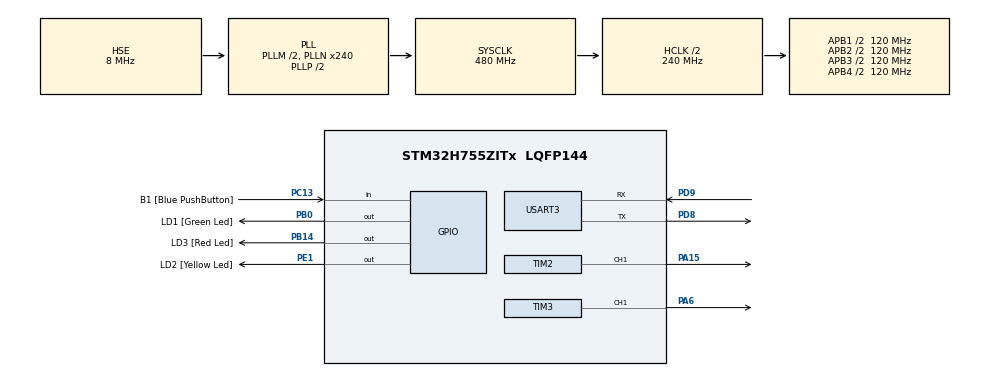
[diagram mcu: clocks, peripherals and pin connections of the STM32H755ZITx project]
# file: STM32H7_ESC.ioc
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CortexM4.IPs=BDMA,CORTEX_M4\:I,DEBUG,DMA,FATFS_M4\:I,FREERTOS_M4\:I,GPIO,IWDG2\:I,MDMA,NVIC2\:I,OPENAMP_M4\:I,PDM2PCM_M4\:I,PWR,RCC,RESMGR_UTILITY,SYS_M4\:I,USB_DEVICE_M4\:I,USB_HOST_M4\:I,VREFBUF,WWDG2\:I
CortexM4.Pins=PE1
CortexM7.IPs=BDMA\:I,CORTEX_M7\:I,DEBUG\:I,DMA\:I,FATFS_M7\:I,FREERTOS_M7\:I,GPIO\:I,IWDG1\:I,MDMA\:I,NVIC1\:I,OPENAMP_M7\:I,PDM2PCM_M7\:I,PWR\:I,RCC\:I,RESMGR_UTILITY\:I,SYS\:I,USB_DEVICE_M7\:I,USB_HOST_M7\:I,VREFBUF\:I,WWDG1\:I,I2C2\:I,USART3\:I,TIM2\:I,TIM3\:I
CortexM7.Pins=PC13,PB0,PB14
Mcu.Family=STM32H7
Mcu.Name=STM32H755ZITx
Mcu.Package=LQFP144
NVIC1.PriorityGroup=NVIC_PRIORITYGROUP_4
NVIC2.PriorityGroup=NVIC_PRIORITYGROUP_4
PA15\ (JTDI).PinAttribute=CortexM7
PA15\ (JTDI).Signal=S_TIM2_CH1_ETR
PA6.PinAttribute=CortexM7
PA6.Signal=S_TIM3_CH1
PB0.GPIO_Label=LD1 [Green Led]
PB0.PinAttribute=CortexM7
PB0.Signal=GPIO_Output
PB14.GPIO_Label=LD3 [Red Led]
PB14.PinAttribute=CortexM7
PB14.Signal=GPIO_Output
PC13.GPIO_Label=B1 [Blue PushButton]
PC13.PinAttribute=CortexM7
PC13.Signal=GPIO_Input
PC14-OSC32_IN\ (OSC32_IN).Mode=LSE-External-Oscillator
PC14-OSC32_IN\ (OSC32_IN).PinAttribute=CortexM7
PC14-OSC32_IN\ (OSC32_IN).Signal=RCC_OSC32_IN
PC15-OSC32_OUT\ (OSC32_OUT).Mode=LSE-External-Oscillator
PC15-OSC32_OUT\ (OSC32_OUT).PinAttribute=CortexM7
PC15-OSC32_OUT\ (OSC32_OUT).Signal=RCC_OSC32_OUT
PD8.Mode=Asynchronous
PD8.PinAttribute=CortexM7
PD8.Signal=USART3_TX
PD9.Mode=Asynchronous
PD9.PinAttribute=CortexM7
PD9.Signal=USART3_RX
PE1.GPIO_Label=LD2 [Yellow Led]
PE1.PinAttribute=CortexM4
PE1.Signal=GPIO_Output
PH0-OSC_IN\ (PH0).Mode=HSE-External-Clock-Source
PH0-OSC_IN\ (PH0).PinAttribute=CortexM7
PH0-OSC_IN\ (PH0).Signal=RCC_OSC_IN
ProjectManager.HeapSize=M4-0x200,M7-0x200
ProjectManager.StackSize=M4-0x400,M7-0x400
ProjectManager.TargetToolchain=STM32CubeIDE
RCC.ADCFreq_Value=16125000
RCC.APB1Freq_Value=120000000
RCC.APB2Freq_Value=120000000
RCC.APB3Freq_Value=120000000
RCC.APB4Freq_Value=120000000
RCC.CortexFreq_Value=480000000
RCC.D1PPRE=RCC_APB3_DIV2
RCC.D2PPRE1=RCC_APB1_DIV2
RCC.D2PPRE2=RCC_APB2_DIV2
RCC.D3PPRE=RCC_APB4_DIV2
RCC.DIVM1=2
RCC.DIVN1=240
RCC.HCLKFreq_Value=240000000
RCC.HPRE=RCC_HCLK_DIV2
RCC.HSE_VALUE=8000000
RCC.PLLSourceVirtual=RCC_PLLSOURCE_HSE
RCC.SYSCLKFreq_VALUE=480000000
RCC.SYSCLKSource=RCC_SYSCLKSOURCE_PLLCLK
RCC.USBFreq_Value=480000000
SH.S_TIM2_CH1_ETR.0=TIM2_CH1,PWM Generation1 CH1
SH.S_TIM3_CH1.0=TIM3_CH1,PWM Generation1 CH1
TIM2.AutoReloadPreload=TIM_AUTORELOAD_PRELOAD_ENABLE
TIM2.Channel-PWM\ Generation1\ CH1=TIM_CHANNEL_1
TIM2.Period=65535
TIM2.Prescaler=72
TIM3.AutoReloadPreload=TIM_AUTORELOAD_PRELOAD_ENABLE
TIM3.Channel-PWM\ Generation1\ CH1=TIM_CHANNEL_1
TIM3.Prescaler=72
USART3.VirtualMode-Asynchronous=VM_ASYNC
VP_TIM2_VS_ClockSourceINT.Mode=Internal
VP_TIM3_VS_ClockSourceINT.Mode=Internal
board=custom

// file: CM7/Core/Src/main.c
/* USER CODE BEGIN Header */
/**
  ******************************************************************************
  * @file           : main.c
  * @brief          : Main program body
  ******************************************************************************
  * @attention
  *
  * Copyright (c) 2023 STMicroelectronics.
  * All rights reserved.
  *
  * This software is licensed under terms that can be found in the LICENSE file
  * in the root directory of this software component.
  * If no LICENSE file comes with this software, it is provided AS-IS.
  *
  ******************************************************************************
  */
/* USER CODE END Header */
#include "main.h"
#include "tim.h"
#include "usart.h"
#include "gpio.h"

/* USER CODE BEGIN Includes */
#include "myprintf.h"
#include "esc.h"
/* USER CODE END Includes */

/* USER CODE BEGIN PD */

#ifndef HSEM_ID_0
#define HSEM_ID_0 (0U) /* HW semaphore 0*/
#endif
/* USER CODE END PD */

void SystemClock_Config(void);

int main(void)
{
/* USER CODE BEGIN Boot_Mode_Sequence_0 */
  int32_t timeout;
/* USER CODE END Boot_Mode_Sequence_0 */

/* USER CODE BEGIN Boot_Mode_Sequence_1 */
  /* Wait until CPU2 boots and enters in stop mode or timeout*/
  timeout = 0xFFFF;
  while((__HAL_RCC_GET_FLAG(RCC_FLAG_D2CKRDY) != RESET) && (timeout-- > 0));
  if ( timeout < 0 )
  {
  Error_Handler();
  }
/* USER CODE END Boot_Mode_Sequence_1 */
  /* MCU Configuration--------------------------------------------------------*/

  /* Reset of all peripherals, Initializes the Flash interface and the Systick. */
  HAL_Init();

  /* Configure the system clock */
  SystemClock_Config();
/* USER CODE BEGIN Boot_Mode_Sequence_2 */
/* When system initialization is finished, Cortex-M7 will release Cortex-M4 by means of
HSEM notification */
/*HW semaphore Clock enable*/
__HAL_RCC_HSEM_CLK_ENABLE();
/*Take HSEM */
HAL_HSEM_FastTake(HSEM_ID_0);
/*Release HSEM in order to notify the CPU2(CM4)*/
HAL_HSEM_Release(HSEM_ID_0,0);
/* wait until CPU2 wakes up from stop mode */
timeout = 0xFFFF;
while((__HAL_RCC_GET_FLAG(RCC_FLAG_D2CKRDY) == RESET) && (timeout-- > 0));
if ( timeout < 0 )
{
Error_Handler();
}
/* USER CODE END Boot_Mode_Sequence_2 */

  /* Initialize all configured peripherals */
  MX_GPIO_Init();
  MX_USART3_UART_Init();
  MX_TIM2_Init();
  MX_TIM3_Init();
  /* USER CODE BEGIN 2 */
  HAL_TIM_PWM_Start(&htim2, TIM_CHANNEL_1); //Starting Timer 2
  HAL_TIM_PWM_Start(&htim3, TIM_CHANNEL_1); //Staring Timer 3
  /* USER CODE END 2 */

  /* Infinite loop */
  /* USER CODE BEGIN WHILE */

  //@notes: Variables for Pulse Width Modulatio for ESC (motor) and servo.
  //Esc variables are set for backwards motion (depending on polarity).
  int minPulseWidthESC = 1000; //Range for variables for PWM (ESC - backwards)
  int maxPulseWidthESC = 1500;
  int minPulseWidthServo = 1000; //Range for right and left Servo
  int maxPulseWidthServo = 2000;
  unsigned int pwmPeriod = 20000;
  int resolution = 100;

  struct escValues escValues = {htim2, minPulseWidthESC, //Struct Containing all
		  maxPulseWidthESC, pwmPeriod, resolution};	  		//PWM Variables for ESC

  struct escValues servoValues = {htim3, minPulseWidthServo, //Struct Containing all
		  maxPulseWidthServo, pwmPeriod, resolution};	  	 //PWM Variables for Servo

  //@notes: ESC needs to start gradually
  //after starting gradually, it will respond to pwm. If given a pwm
  //without this setup, it doesn't respond.
  printf("Starting Setup...\r\n"); // Setup
  int i = 100;
  int dt = 1;
  do{
	  //setPwm(htim2, minPulseWidth, maxPulseWidth, pwmPeriod, resolution, i);
	  setPwmS(&escValues);
	  escValues.percentage=(unsigned int)i;
	  HAL_Delay(10);
	  i=i-dt;

  }while(i > 50);
  printf("End Setup\r\n");

  uint8_t inputESC[3], inputServo[3]; //Variables for Receiving UART
  int inputIntESC, inputIntServo;

  while (1)
  {

	  //@note: Test for checking motor with ESC. Receiving from UART
	  //values from 000 to 100. Change minPulseWidth, maxPulseWidth
	  //pwmPeriod, resoution and escValues.percentage accordingly to
	  //your needs.
	  printf("PWM: ");
	  while(HAL_UART_Receive(&huart3, inputESC, 3, HAL_MAX_DELAY)); //Receiving from UART ESC
	  printf("Received PWM: {%c%c%c} \r\n",inputESC[0],inputESC[1],inputESC[2]);
	  printf("\nServo: ");
	  while(HAL_UART_Receive(&huart3, inputServo, 3, HAL_MAX_DELAY)); //Receiving from UART Servo
	  printf("Received PWM: {%c%c%c} \r\n",inputServo[0],inputServo[1],inputServo[2]);

	  for(int i = 0 ; i < 4 ; i++){//Deleting 0 to convert from ASCII to DEC
		  inputESC[i]-='0';
		  inputServo[i]-='0';
	  }

	  inputIntESC = (inputESC[0]*100 + inputESC[1]*10 + inputESC[2]);//Converting to INT ESC
	  inputIntServo = (inputServo[0]*100 + inputServo[1]*10 + inputServo[2]);//Converting to INT Servo

	  if(inputIntESC < 101 && inputIntESC >= 0){//Limiting input ESC
		  escValues.percentage = inputIntESC;
	  }
	  if(inputIntServo < 101 && inputIntServo >= 0){//Limiting input Servo
		  servoValues.percentage = inputIntServo;
	  }

	  //Setting PWM value
	  //setPwm(htim2, minPulseWidth, maxPulseWidth, pwmPeriod, resolution, percentage);
	  setPwmS(&escValues);
	  //HAL_Delay(100);
	  setPwmS(&servoValues);

	  //@note: Printing percentage, pulse width, set min and set max
	  printf("ESC   - P: %3d PW: %.5f (min: %.5f max: %.5f)\r\n",escValues.percentage,escValues.pulseWidth,escValues.minPulseWidth/1e6,escValues.maxPulseWidth/1e6);
	  printf("Servo - P: %3d PW: %.5f (min: %.5f max: %.5f)\r\n",servoValues.percentage,servoValues.pulseWidth,servoValues.minPulseWidth/1e6,servoValues.maxPulseWidth/1e6);

    /* USER CODE END WHILE */

  }
}

void SystemClock_Config(void)
{
  RCC_OscInitTypeDef RCC_OscInitStruct = {0};
  RCC_ClkInitTypeDef RCC_ClkInitStruct = {0};

  /** Supply configuration update enable
  */
  HAL_PWREx_ConfigSupply(PWR_DIRECT_SMPS_SUPPLY);

  /** Configure the main internal regulator output voltage
  */
  __HAL_PWR_VOLTAGESCALING_CONFIG(PWR_REGULATOR_VOLTAGE_SCALE0);

  while(!__HAL_PWR_GET_FLAG(PWR_FLAG_VOSRDY)) {}

  /** Initializes the RCC Oscillators according to the specified parameters
  * in the RCC_OscInitTypeDef structure.
  */
  RCC_OscInitStruct.OscillatorType = RCC_OSCILLATORTYPE_HSE;
  RCC_OscInitStruct.HSEState = RCC_HSE_BYPASS;
  RCC_OscInitStruct.PLL.PLLState = RCC_PLL_ON;
  RCC_OscInitStruct.PLL.PLLSource = RCC_PLLSOURCE_HSE;
  RCC_OscInitStruct.PLL.PLLM = 2;
  RCC_OscInitStruct.PLL.PLLN = 240;
  RCC_OscInitStruct.PLL.PLLP = 2;
  RCC_OscInitStruct.PLL.PLLQ = 2;
  RCC_OscInitStruct.PLL.PLLR = 2;
  RCC_OscInitStruct.PLL.PLLRGE = RCC_PLL1VCIRANGE_2;
  RCC_OscInitStruct.PLL.PLLVCOSEL = RCC_PLL1VCOWIDE;
  RCC_OscInitStruct.PLL.PLLFRACN = 0;
  if (HAL_RCC_OscConfig(&RCC_OscInitStruct) != HAL_OK)
  {
    Error_Handler();
  }

  /** Initializes the CPU, AHB and APB buses clocks
  */
  RCC_ClkInitStruct.ClockType = RCC_CLOCKTYPE_HCLK|RCC_CLOCKTYPE_SYSCLK
                              |RCC_CLOCKTYPE_PCLK1|RCC_CLOCKTYPE_PCLK2
                              |RCC_CLOCKTYPE_D3PCLK1|RCC_CLOCKTYPE_D1PCLK1;
  RCC_ClkInitStruct.SYSCLKSource = RCC_SYSCLKSOURCE_PLLCLK;
  RCC_ClkInitStruct.SYSCLKDivider = RCC_SYSCLK_DIV1;
  RCC_ClkInitStruct.AHBCLKDivider = RCC_HCLK_DIV2;
  RCC_ClkInitStruct.APB3CLKDivider = RCC_APB3_DIV2;
  RCC_ClkInitStruct.APB1CLKDivider = RCC_APB1_DIV2;
  RCC_ClkInitStruct.APB2CLKDivider = RCC_APB2_DIV2;
  RCC_ClkInitStruct.APB4CLKDivider = RCC_APB4_DIV2;

  if (HAL_RCC_ClockConfig(&RCC_ClkInitStruct, FLASH_LATENCY_4) != HAL_OK)
  {
    Error_Handler();
  }
}

void Error_Handler(void)
{
  __disable_irq();
  while (1)
  {
  }
}
